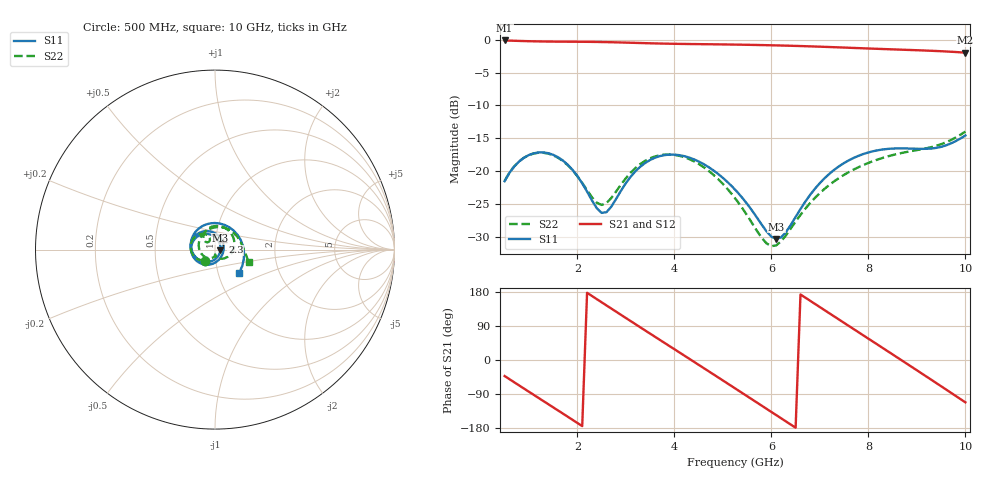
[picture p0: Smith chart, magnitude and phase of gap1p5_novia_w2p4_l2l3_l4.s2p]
! Touchstone file exported from HFSS 3D Layout Design 2026.1.0
!  File:  D:/Work/ADS/HFSS_VERDICT/hfss_sma_connector_cpw.aedt
!  Generated:  07:31:09 PM Aug  5, 2026
!  Design:  SINGLE_END_SMA_CPW_30MM
!  Project:  hfss_sma_connector_cpw
! Variables:
!  $sma_Base_D = 6.25mm
!  $sma_Base_L = 8mm
!  $sma_Feet_L = 4mm
!  $sma_Feet_W = 1mm
!  $sma_Front_L = 1.5mm
!  $sma_Front_W = 6.5mm
!  $sma_Hole_D = 1.25mm
!  $sma_PTFE_D = 4.2mm
!  $sma_Pin_D = 0.95mm
!  $sma_Pin_P = 1.7mm
# GHz S MA R 50.000000
! Terminal data exported
! Port[1] = Port1
! Port[2] = S1_1_Pin_T1
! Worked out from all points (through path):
!   96 points, 500 MHz to 10 GHz, reference 50 ohm
!   highest |S21| = -0.12 dB at 500 MHz (marker M1); lowest = -2.0 dB at 10 GHz (marker M2)
!   group delay of S21, straight-line fit = 230 ps
!   lowest |S11| = -30.3 dB at 6.1 GHz (marker M3), VSWR 1.06, Z = 53.1 - j0.36 ohm
!   |S11| at or under -10 dB: start of sweep to end of sweep
!   |S22| runs from -31.4 to -14.0 dB; largest |S21 - S12| = 1.7e-14
!   S11 on the Smith chart (normalised r, x): 500 MHz: 0.89, -0.11; 2.3 GHz: 1.08, +0.09; 10 GHz: 1.26, -0.34
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0.5  0.08375 -132.8  0.9864 -42.3  0.9864 -42.3  0.08411 -133.5
0.9  0.1264 -166.6  0.9758 -75.4  0.9758 -75.4  0.1264 -166.9
1.3  0.1386 159.2  0.9686 -108.4  0.9686 -108.4  0.1378 161.6
1.7  0.1204 122.6  0.9654 -141.3  0.9654 -141.3  0.1193 133.6
2.1  0.08067 77.4  0.9636 -174.4  0.9636 -174.4  0.08129 115.4
2.3  0.0599 44.9  0.962 169.0  0.962 169.0  0.06323 116.4
2.6  0.04864 -27.0  0.958 144.0  0.958 144.0  0.05706 134.4
3  0.0809 -100.3  0.9499 110.8  0.9499 110.8  0.0882 136.3
3.7  0.13 -166.5  0.9349 53.1  0.9349 53.1  0.132 89.4
4.1  0.1321 164.5  0.929 20.3  0.929 20.3  0.1307 54.6
4.5  0.1183 138.4  0.9249 -12.7  0.9249 -12.7  0.1133 17.3
5.3  0.06907 89.1  0.9167 -78.9  0.9167 -78.9  0.05882 -59.4
5.7  0.04438 55.8  0.9112 -112.1  0.9112 -112.1  0.03519 -86.9
6.1  0.03041 -6.4  0.9046 -145.4  0.9046 -145.4  0.02719 -86.9
6.5  0.04477 -74.1  0.8965 -178.7  0.8965 -178.7  0.04128 -98.1
6.9  0.0735 -113.6  0.887 147.9  0.887 147.9  0.06258 -131.9
7.3  0.1025 -143.8  0.8763 114.6  0.8763 114.6  0.08383 -172.8
7.7  0.1261 -172.0  0.8651 81.3  0.8651 81.3  0.1028 144.9
8.5  0.1483 127.3  0.8437 14.7  0.8437 14.7  0.1323 66.3
8.9  0.1482 90.2  0.8337 -18.8  0.8337 -18.8  0.1422 34.5
9.4  0.1501 33.3  0.82 -60.8  0.82 -60.8  0.1558 5.1
10  0.1866 -43.4  0.7965 -111.7  0.7965 -111.7  0.1999 -20.5
